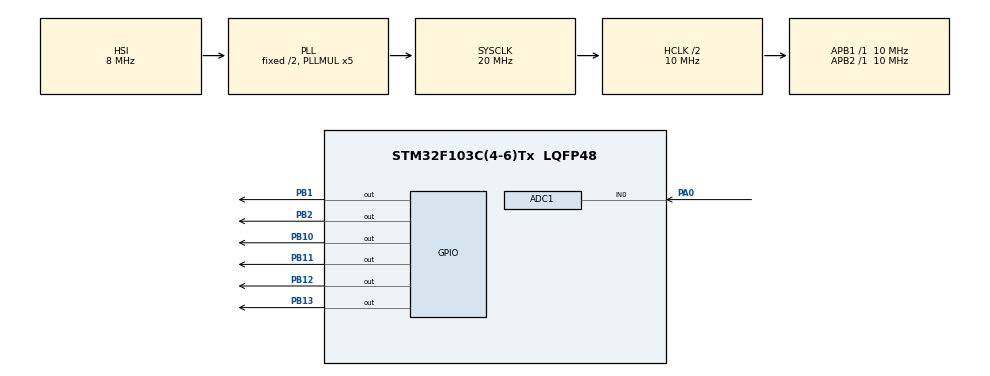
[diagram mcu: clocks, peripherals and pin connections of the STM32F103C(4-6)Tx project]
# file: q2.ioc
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ADC1.Channel-0\#ChannelRegularConversion=ADC_CHANNEL_0
ADC1.ContinuousConvMode=ENABLE
ADC1.NbrOfConversionFlag=1
ADC1.Rank-0\#ChannelRegularConversion=1
ADC1.SamplingTime-0\#ChannelRegularConversion=ADC_SAMPLETIME_1CYCLE_5
ADC1.master=1
Mcu.Family=STM32F1
Mcu.Name=STM32F103C(4-6)Tx
Mcu.Package=LQFP48
NVIC.PriorityGroup=NVIC_PRIORITYGROUP_4
PA0-WKUP.Signal=ADCx_IN0
PB1.Signal=GPIO_Output
PB10.Signal=GPIO_Output
PB11.Signal=GPIO_Output
PB12.Signal=GPIO_Output
PB13.Signal=GPIO_Output
PB2.Signal=GPIO_Output
ProjectManager.HeapSize=0x200
ProjectManager.StackSize=0x400
ProjectManager.TargetToolchain=STM32CubeIDE
RCC.AHBCLKDivider=RCC_SYSCLK_DIV2
RCC.AHBFreq_Value=10000000
RCC.APB1Freq_Value=10000000
RCC.APB1TimFreq_Value=10000000
RCC.APB2Freq_Value=10000000
RCC.APB2TimFreq_Value=10000000
RCC.HCLKFreq_Value=10000000
RCC.PLLMUL=RCC_PLL_MUL5
RCC.SYSCLKFreq_VALUE=20000000
RCC.SYSCLKSource=RCC_SYSCLKSOURCE_PLLCLK
RCC.USBFreq_Value=20000000
SH.ADCx_IN0.0=ADC1_IN0,IN0
VP_SYS_VS_ND.Mode=No_Debug
board=custom

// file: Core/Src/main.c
/* USER CODE BEGIN Header */
/* USER CODE END Header */
#include "main.h"
#include "codenic_lcd.h"
#include <stdio.h>
extern ADC_HandleTypeDef hadc1;

/* USER CODE BEGIN Includes */
extern ADC_HandleTypeDef hadc1;

/* USER CODE END Includes */

/* USER CODE BEGIN PD */
char buffer[20];
uint32_t adc_value;

float temperature;

/* USER CODE END PD */

ADC_HandleTypeDef hadc1;

void SystemClock_Config(void);
static void MX_GPIO_Init(void);
static void MX_ADC1_Init(void);

int main(void)
{

  /* MCU Configuration--------------------------------------------------------*/

  /* Reset of all peripherals, Initializes the Flash interface and the Systick. */
  HAL_Init();

  /* Configure the system clock */
  SystemClock_Config();

  /* Initialize all configured peripherals */
  MX_GPIO_Init();
  MX_ADC1_Init();
  /* USER CODE BEGIN 2 */
  LCD_Init();
  LCD_SetCursor(0, 0);
  /* USER CODE END 2 */

  /* Infinite loop */
  /* USER CODE BEGIN WHILE */
  while (1)
      {

	          HAL_ADC_Start(&hadc1);
	          HAL_ADC_PollForConversion(&hadc1, 1000);
	          adc_value = HAL_ADC_GetValue(&hadc1);
	          HAL_ADC_Stop(&hadc1);

	          LCD_SetCursor(0, 0);
	          LCD_PrintFloat(adc_value,2);

	          temperature = 0.1221 * adc_value - 49.99 ;
	          LCD_SetCursor(0, 1);
	          LCD_PrintFloat(temperature,2);

	          HAL_Delay(2000);
      }
    /* USER CODE END WHILE */

}

void SystemClock_Config(void)
{
  RCC_OscInitTypeDef RCC_OscInitStruct = {0};
  RCC_ClkInitTypeDef RCC_ClkInitStruct = {0};
  RCC_PeriphCLKInitTypeDef PeriphClkInit = {0};

  /** Initializes the RCC Oscillators according to the specified parameters
  * in the RCC_OscInitTypeDef structure.
  */
  RCC_OscInitStruct.OscillatorType = RCC_OSCILLATORTYPE_HSI;
  RCC_OscInitStruct.HSIState = RCC_HSI_ON;
  RCC_OscInitStruct.HSICalibrationValue = RCC_HSICALIBRATION_DEFAULT;
  RCC_OscInitStruct.PLL.PLLState = RCC_PLL_ON;
  RCC_OscInitStruct.PLL.PLLSource = RCC_PLLSOURCE_HSI_DIV2;
  RCC_OscInitStruct.PLL.PLLMUL = RCC_PLL_MUL5;
  if (HAL_RCC_OscConfig(&RCC_OscInitStruct) != HAL_OK)
  {
    Error_Handler();
  }

  /** Initializes the CPU, AHB and APB buses clocks
  */
  RCC_ClkInitStruct.ClockType = RCC_CLOCKTYPE_HCLK|RCC_CLOCKTYPE_SYSCLK
                              |RCC_CLOCKTYPE_PCLK1|RCC_CLOCKTYPE_PCLK2;
  RCC_ClkInitStruct.SYSCLKSource = RCC_SYSCLKSOURCE_PLLCLK;
  RCC_ClkInitStruct.AHBCLKDivider = RCC_SYSCLK_DIV2;
  RCC_ClkInitStruct.APB1CLKDivider = RCC_HCLK_DIV1;
  RCC_ClkInitStruct.APB2CLKDivider = RCC_HCLK_DIV1;

  if (HAL_RCC_ClockConfig(&RCC_ClkInitStruct, FLASH_LATENCY_0) != HAL_OK)
  {
    Error_Handler();
  }
  PeriphClkInit.PeriphClockSelection = RCC_PERIPHCLK_ADC;
  PeriphClkInit.AdcClockSelection = RCC_ADCPCLK2_DIV2;
  if (HAL_RCCEx_PeriphCLKConfig(&PeriphClkInit) != HAL_OK)
  {
    Error_Handler();
  }
}

static void MX_ADC1_Init(void)
{

  ADC_ChannelConfTypeDef sConfig = {0};

  /** Common config
  */
  hadc1.Instance = ADC1;
  hadc1.Init.ScanConvMode = ADC_SCAN_DISABLE;
  hadc1.Init.ContinuousConvMode = ENABLE;
  hadc1.Init.DiscontinuousConvMode = DISABLE;
  hadc1.Init.ExternalTrigConv = ADC_SOFTWARE_START;
  hadc1.Init.DataAlign = ADC_DATAALIGN_RIGHT;
  hadc1.Init.NbrOfConversion = 1;
  if (HAL_ADC_Init(&hadc1) != HAL_OK)
  {
    Error_Handler();
  }

  /** Configure Regular Channel
  */
  sConfig.Channel = ADC_CHANNEL_0;
  sConfig.Rank = ADC_REGULAR_RANK_1;
  sConfig.SamplingTime = ADC_SAMPLETIME_1CYCLE_5;
  if (HAL_ADC_ConfigChannel(&hadc1, &sConfig) != HAL_OK)
  {
    Error_Handler();
  }

}

static void MX_GPIO_Init(void)
{
  GPIO_InitTypeDef GPIO_InitStruct = {0};

  /* GPIO Ports Clock Enable */
  __HAL_RCC_GPIOA_CLK_ENABLE();
  __HAL_RCC_GPIOB_CLK_ENABLE();

  /*Configure GPIO pin Output Level */
  HAL_GPIO_WritePin(GPIOB, GPIO_PIN_1|GPIO_PIN_2|GPIO_PIN_10|GPIO_PIN_11
                          |GPIO_PIN_12|GPIO_PIN_13, GPIO_PIN_RESET);

  /*Configure GPIO pins : PB1 PB2 PB10 PB11
                           PB12 PB13 */

  GPIO_InitStruct.Pin = GPIO_PIN_1|GPIO_PIN_2|GPIO_PIN_10|GPIO_PIN_11|GPIO_PIN_12|GPIO_PIN_13;
  GPIO_InitStruct.Mode = GPIO_MODE_OUTPUT_PP;
  GPIO_InitStruct.Pull = GPIO_NOPULL;
  GPIO_InitStruct.Speed = GPIO_SPEED_FREQ_LOW;
  HAL_GPIO_Init(GPIOB, &GPIO_InitStruct);

}

void Error_Handler(void)
{
}
